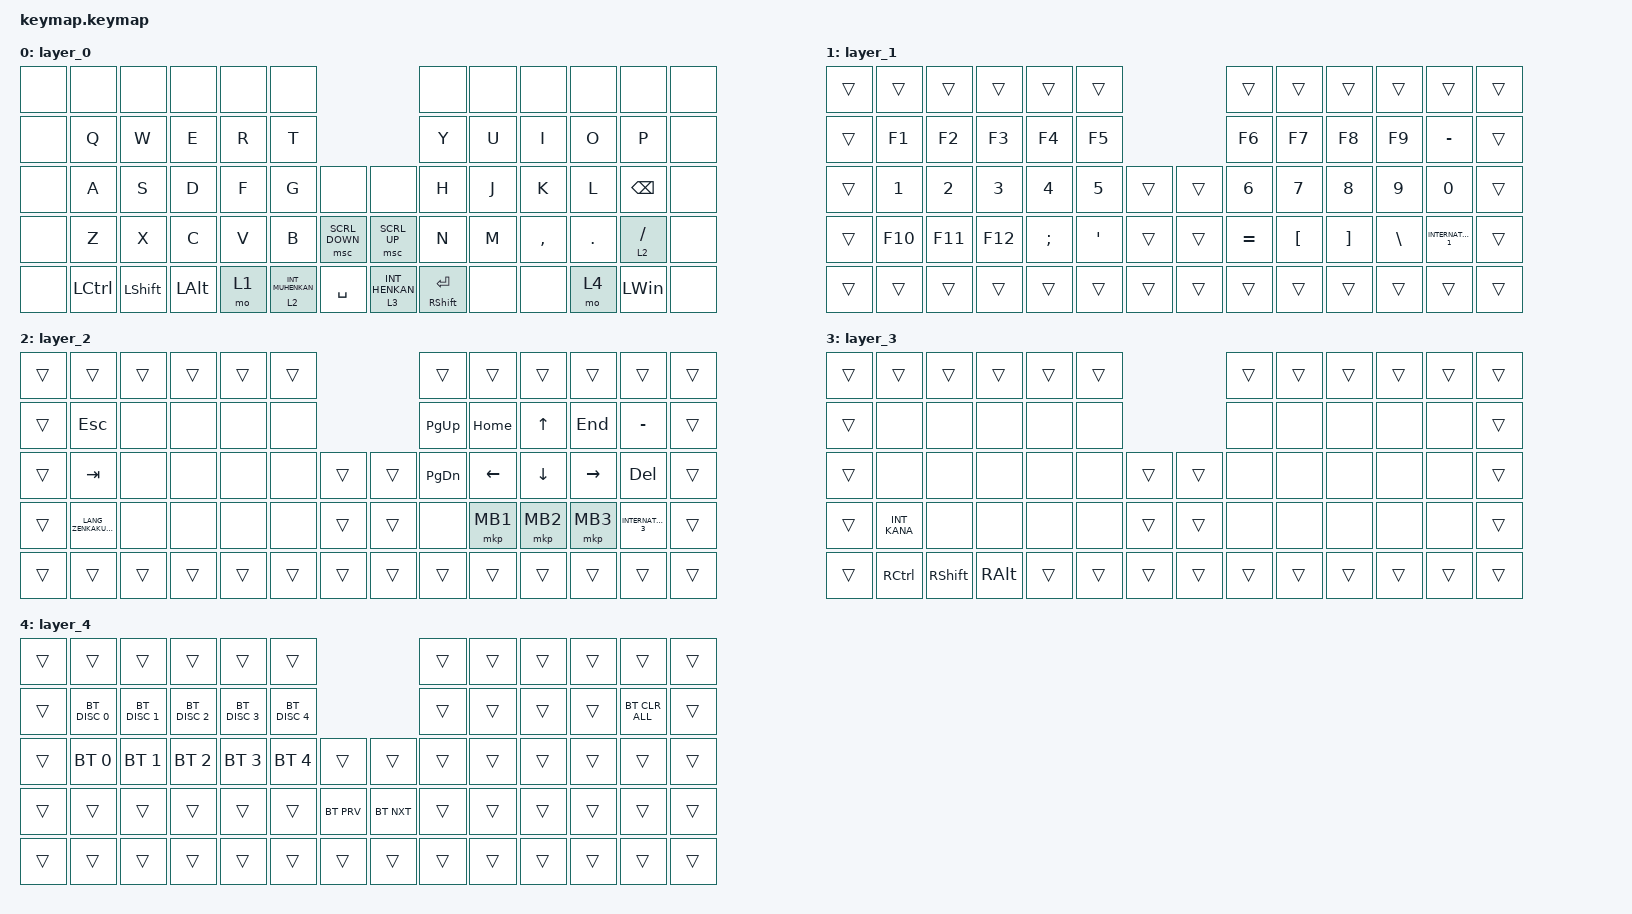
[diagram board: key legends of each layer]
#include <behaviors.dtsi>
#include <dt-bindings/zmk/bt.h>
#include <dt-bindings/zmk/keys.h>
#include <dt-bindings/zmk/pointing.h>

/ {
    combos {
        compatible = "zmk,combos";

        bt_clear {
            bindings = <&bt BT_CLR>;
            key-positions = <28 29>;
        };
    };

    keymap {
        compatible = "zmk,keymap";

        layer_0 {
            bindings = <
&none  &none      &none           &none     &none  &none                                                 &none                  &none  &none      &none    &none          &none
&none  &kp Q      &kp W           &kp E     &kp R  &kp T                                                 &kp Y                  &kp U  &kp I      &kp O    &kp P          &none
&none  &kp A      &kp S           &kp D     &kp F  &kp G               &none           &none             &kp H                  &kp J  &kp K      &kp L    &kp BACKSPACE  &none
&none  &kp Z      &kp X           &kp C     &kp V  &kp B               &msc SCRL_DOWN  &msc SCRL_UP      &kp N                  &kp M  &kp COMMA  &kp DOT  &lt 2 SLASH    &none
&none  &kp LCTRL  &kp LEFT_SHIFT  &kp LALT  &mo 1  &lt 2 INT_MUHENKAN  &kp SPACE       &lt 3 INT_HENKAN  &mt RIGHT_SHIFT ENTER  &none  &none      &mo 4    &kp LEFT_WIN   &none
            >;
        };

        layer_1 {
            bindings = <
&trans  &trans        &trans        &trans        &trans        &trans                            &trans        &trans            &trans             &trans         &trans               &trans
&trans  &kp F1        &kp F2        &kp F3        &kp F4        &kp F5                            &kp F6        &kp F7            &kp F8             &kp F9         &kp MINUS            &trans
&trans  &kp NUMBER_1  &kp NUMBER_2  &kp NUMBER_3  &kp NUMBER_4  &kp NUMBER_5      &trans  &trans  &kp NUMBER_6  &kp N7            &kp NUMBER_8       &kp NUMBER_9   &kp NUMBER_0         &trans
&trans  &kp F10       &kp F11       &kp F12       &kp SEMI      &kp SINGLE_QUOTE  &trans  &trans  &kp EQUAL     &kp LEFT_BRACKET  &kp RIGHT_BRACKET  &kp BACKSLASH  &kp INTERNATIONAL_1  &trans
&trans  &trans        &trans        &trans        &trans        &trans            &trans  &trans  &trans        &trans            &trans             &trans         &trans               &trans
            >;
        };

        layer_2 {
            bindings = <
&trans  &trans                   &trans  &trans  &trans  &trans                  &trans         &trans    &trans          &trans     &trans               &trans
&trans  &kp ESCAPE               &none   &none   &none   &none                   &kp PAGE_UP    &kp HOME  &kp UP_ARROW    &kp END    &kp MINUS            &trans
&trans  &kp TAB                  &none   &none   &none   &none   &trans  &trans  &kp PAGE_DOWN  &kp LEFT  &kp DOWN_ARROW  &kp RIGHT  &kp DEL              &trans
&trans  &kp LANG_ZENKAKUHANKAKU  &none   &none   &none   &none   &trans  &trans  &none          &mkp MB1  &mkp MB2        &mkp MB3   &kp INTERNATIONAL_3  &trans
&trans  &trans                   &trans  &trans  &trans  &trans  &trans  &trans  &trans         &trans    &trans          &trans     &trans               &trans
            >;
        };

        layer_3 {
            bindings = <
&trans  &trans        &trans      &trans         &trans  &trans                  &trans  &trans  &trans  &trans  &trans  &trans
&trans  &none         &none       &none          &none   &none                   &none   &none   &none   &none   &none   &trans
&trans  &none         &none       &none          &none   &none   &trans  &trans  &none   &none   &none   &none   &none   &trans
&trans  &kp INT_KANA  &none       &none          &none   &none   &trans  &trans  &none   &none   &none   &none   &none   &trans
&trans  &kp RCTRL     &kp RSHIFT  &kp RIGHT_ALT  &trans  &trans  &trans  &trans  &trans  &trans  &trans  &trans  &trans  &trans
            >;
        };

        layer_4 {
            bindings = <
&trans  &trans         &trans         &trans         &trans         &trans                                 &trans  &trans  &trans  &trans  &trans          &trans
&trans  &bt BT_DISC 0  &bt BT_DISC 1  &bt BT_DISC 2  &bt BT_DISC 3  &bt BT_DISC 4                          &trans  &trans  &trans  &trans  &bt BT_CLR_ALL  &trans
&trans  &bt BT_SEL 0   &bt BT_SEL 1   &bt BT_SEL 2   &bt BT_SEL 3   &bt BT_SEL 4   &trans      &trans      &trans  &trans  &trans  &trans  &trans          &trans
&trans  &trans         &trans         &trans         &trans         &trans         &bt BT_PRV  &bt BT_NXT  &trans  &trans  &trans  &trans  &trans          &trans
&trans  &trans         &trans         &trans         &trans         &trans         &trans      &trans      &trans  &trans  &trans  &trans  &trans          &trans
            >;
        };
    };
};
